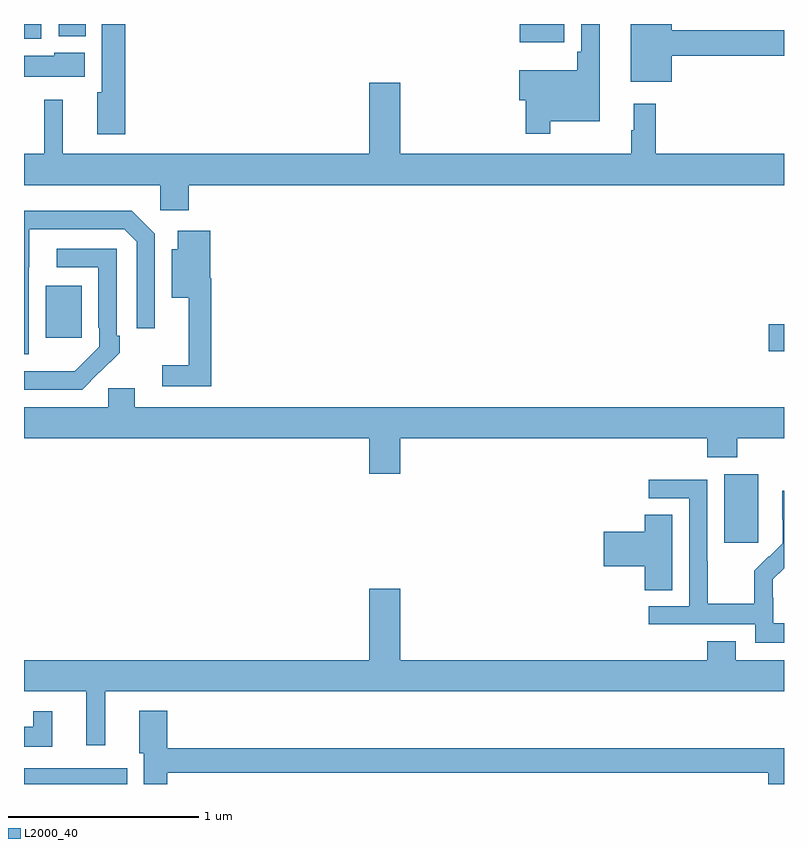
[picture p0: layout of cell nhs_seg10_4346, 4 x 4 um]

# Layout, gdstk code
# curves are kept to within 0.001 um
import gdstk
lib = gdstk.Library(unit=1e-6, precision=1e-09)
def R(c, l, rs):  # rectangles x0, y0, x1, y1
    for r in rs: c.add(gdstk.rectangle(r[:2], r[2:], *l))
def P(c, l, *ps):  # polygons
    for p in ps: c.add(gdstk.Polygon(p, *l))
L2000_40 = (2000, 40)

nhs_seg10_4346 = lib.new_cell('nhs_seg10_4346')
R(nhs_seg10_4346, L2000_40, [(355,1294.5,355.543,1294.582), (358.685,1295.769,358.864,1296.13), (358.92,1296.778,359,1296.92), (355.115,1296.849,355.303,1297.123), (357.608,1298.405,357.844,1298.5), (355,1298.423,355.09,1298.5), (355.182,1298.436,355.324,1298.5)])
P(nhs_seg10_4346, L2000_40, [(357.769,1297.988),(358.03,1297.988),(358.03,1298.5),(357.933,1298.5),(357.933,1298.353),(357.913,1298.353),(357.913,1298.257),(357.606,1298.257),(357.606,1298.099),(357.64,1298.099),(357.64,1297.923),(357.769,1297.923)],
  [(355.532,1298.5),(355.409,1298.5),(355.409,1298.142),(355.385,1298.142),(355.385,1297.92),(355.532,1297.92)],
  [(358.408,1298.332),(359,1298.332),(359,1298.468),(358.408,1298.468),(358.408,1298.5),(358.193,1298.5),(358.193,1298.195),(358.408,1298.195)],
  [(355.321,1298.35),(355.158,1298.35),(355.158,1298.332),(355,1298.332),(355,1298.222),(355.321,1298.222)],
  [(355.868,1297.652),(359,1297.652),(359,1297.816),(358.325,1297.816),(358.325,1298.08),(358.208,1298.08),(358.208,1297.94),(358.197,1297.94),(358.197,1297.816),(356.98,1297.816),(356.98,1298.191),(356.816,1298.191),(356.816,1297.816),(355.205,1297.816),(355.205,1298.101),(355.106,1298.101),(355.106,1297.816),(355,1297.816),(355,1297.652),(355.716,1297.652),(355.716,1297.521),(355.868,1297.521)],
  [(355.026,1297.219),(355.027,1297.219),(355.027,1297.419),(355.527,1297.419),(355.593,1297.353),(355.593,1296.9),(355.689,1296.9),(355.689,1297.395),(355.568,1297.516),(355,1297.516),(355,1296.762),(355.026,1296.762)],
  [(355.985,1297.162),(355.979,1297.162),(355.979,1297.411),(355.808,1297.411),(355.808,1297.315),(355.778,1297.315),(355.778,1297.058),(355.868,1297.058),(355.868,1296.703),(355.728,1296.703),(355.728,1296.594),(355.985,1296.594)],
  [(355.397,1296.667),(355.398,1296.666),(355.503,1296.771),(355.503,1296.859),(355.488,1296.859),(355.488,1297.317),(355.173,1297.317),(355.173,1297.221),(355.392,1297.221),(355.392,1296.901),(355.395,1296.901),(355.395,1296.801),(355.267,1296.673),(355,1296.672),(355,1296.576),(355.306,1296.576)],
  [(356.98,1296.32),(358.595,1296.32),(358.595,1296.221),(358.755,1296.221),(358.755,1296.32),(359,1296.32),(359,1296.484),(355.582,1296.484),(355.582,1296.582),(355.443,1296.582),(355.443,1296.484),(355,1296.484),(355,1296.32),(356.816,1296.32),(356.816,1296.132),(356.98,1296.132)],
  [(359,1295.347),(358.944,1295.347),(358.944,1295.481),(358.942,1295.481),(358.942,1295.578),(359,1295.636),(359,1296.044),(358.992,1296.044),(358.992,1295.89),(358.994,1295.89),(358.994,1295.768),(358.923,1295.697),(358.92,1295.7),(358.843,1295.623),(358.843,1295.449),(358.599,1295.449),(358.599,1295.672),(358.596,1295.672),(358.596,1296.102),(358.287,1296.102),(358.287,1296.003),(358.5,1296.003),(358.5,1295.436),(358.287,1295.436),(358.287,1295.34),(358.848,1295.34),(358.848,1295.243),(359,1295.243)],
  [(358.411,1295.918),(358.268,1295.918),(358.268,1295.828),(358.05,1295.828),(358.05,1295.645),(358.268,1295.645),(358.268,1295.521),(358.411,1295.521)],
  [(355.427,1294.988),(359,1294.988),(359,1295.152),(358.747,1295.152),(358.747,1295.251),(358.595,1295.251),(358.595,1295.152),(356.98,1295.152),(356.98,1295.527),(356.816,1295.527),(356.816,1295.152),(355,1295.152),(355,1294.988),(355.328,1294.988),(355.328,1294.704),(355.427,1294.704)],
  [(355.754,1294.558),(358.916,1294.558),(358.916,1294.5),(359,1294.5),(359,1294.687),(355.754,1294.687),(355.754,1294.885),(355.607,1294.885),(355.607,1294.662),(355.631,1294.662),(355.631,1294.5),(355.754,1294.5)],
  [(355.148,1294.882),(355.049,1294.882),(355.049,1294.801),(355,1294.801),(355,1294.697),(355.148,1294.697)])

lib.write_gds('nhs_seg10_4346.gds')
